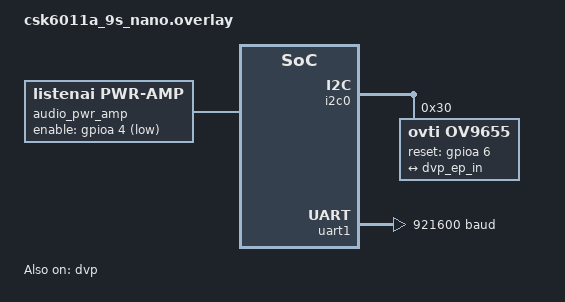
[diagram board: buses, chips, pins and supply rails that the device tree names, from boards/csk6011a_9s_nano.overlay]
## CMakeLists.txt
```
# SPDX-License-Identifier: Apache-2.0

cmake_minimum_required(VERSION 3.20.0)

set(CONF_FILE
  prj.conf
)

if(EXISTS "${CMAKE_CURRENT_SOURCE_DIR}/boards/${BOARD}.conf")
  list(APPEND CONF_FILE
    ${CMAKE_CURRENT_SOURCE_DIR}/boards/${BOARD}.conf
  )
endif()
if(EXISTS "${CMAKE_CURRENT_SOURCE_DIR}/resource/res.conf")
  list(APPEND CONF_FILE
    ${CMAKE_CURRENT_SOURCE_DIR}/resource/res.conf
  )
endif()

set(DTC_OVERLAY_FILE)

if(EXISTS "${CMAKE_CURRENT_SOURCE_DIR}/boards/${BOARD}.overlay")
  list(APPEND DTC_OVERLAY_FILE
    ${CMAKE_CURRENT_SOURCE_DIR}/boards/${BOARD}.overlay
  )
endif()
if(EXISTS "${CMAKE_CURRENT_SOURCE_DIR}/resource/res.overlay")
  list(APPEND DTC_OVERLAY_FILE
    ${CMAKE_CURRENT_SOURCE_DIR}/resource/res.overlay
  )
endif()

find_package(Zephyr REQUIRED HINTS $ENV{ZEPHYR_BASE})
project(sample_head_shoulder_detect)
target_sources(app PRIVATE
  src/main.c
)

set(gen_dir ${ZEPHYR_BINARY_DIR}/include/generated)
generate_inc_file_for_target(
  app
  resource/zephyr.bin
  ${gen_dir}/dsp_firmware.inc
)

generate_inc_file_for_target(
  app
  resource/sof-imx8mp-compr-mp3-wm8960.tplg
  ${gen_dir}/dsp_tplg.inc
)

generate_inc_file_for_target(
  app
  resource/head_shoulder_detect.bin
  ${gen_dir}/head_shoulder_res.inc
)
```

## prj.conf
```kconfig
CONFIG_PRINTK=y
CONFIG_DEBUG=y
CONFIG_LOG=y
CONFIG_LOG_MODE_IMMEDIATE=y
CONFIG_LOG_DETECT_MISSED_STRDUP=n
CONFIG_LOG_BACKEND_SHOW_COLOR=y
CONFIG_LOG_BACKEND_FORMAT_TIMESTAMP=y
CONFIG_LOG_BACKEND_UART=y
CONFIG_LOG_BACKEND_UART_OUTPUT_TEXT=y
CONFIG_MAIN_STACK_SIZE=2048

#system heap size,users can define it according to the actual usage
CONFIG_HEAP_MEM_POOL_SIZE=92160
CONFIG_CSK_HEAP=y
CONFIG_CSK_HEAP_MEM_POOL_SIZE=256000

#avf
CONFIG_AVF=y
# CONFIG_AVF_DSP_XIP=y
CONFIG_AVF_DSP_RUN_ADDRESS=0x60000000
CONFIG_AVF_DEBUG_LEVEL=5
CONFIG_AVF_MODULES_ALG_HSD_DBG=y
CONFIG_AVF_USE_BINARY_ARRAY=y
CONFIG_AVF_MODULES_ALG_HSD=y

# dvp
CONFIG_GPIO=y
CONFIG_I2C=y
CONFIG_VIDEO=y
CONFIG_VIDEO_CSK6_DVP=y
CONFIG_VIDEO_OV9655=y

CONFIG_VIDEO_BUFFER_POOL_SZ_MAX=360000
CONFIG_VIDEO_CUSTOM_SECTION=y
CONFIG_VIDEO_CUSTOM_SECTION_NAME=".psram_section"

#licak
CONFIG_LICAK=y

#IPM and GPIO for avf driver
CONFIG_IPM=y
CONFIG_GPIO=y

#cache
CONFIG_CACHE_MANAGEMENT=y
```

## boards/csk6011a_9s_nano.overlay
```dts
/*
 * SPDX-License-Identifier: Apache-2.0
 */
/delete-node/ &psram_cp;
/delete-node/ &psram_ap;
/delete-node/ &psram_share;
/ {
	chosen {
		/*
		 * shared memory reserved for the inter-processor communication
		 */
		zephyr,ipc_shm = &psram_share;
		zephyr,ipc = &mailbox0;
	};

	aliases {
		avf-audio-pwr-amp = &pwr_amp;
	};
	pwr_amp: audio_pwr_amp{
		compatible = "listenai,pwr-amp";
		enable-gpios = <&gpioa 4 1>;
		label = "audio_pwr_amp";
		status = "okay";
	};

};

&psram0 {
	psram_cp: psram_cp@30000000 {
		compatible = "listenai,csk6-psram-partition";
		reg = <0x30000000 0x600000>;
		status = "okay";
	};
	psram_ap: psram_ap@30600000 {
		compatible = "zephyr,memory-region","listenai,csk6-psram-partition";
		reg = <0x30600000 0x100000>;
		status = "okay";
		zephyr,memory-region = "PSRAMAP";
	};
	psram_share: psram_share@30700000 {
		compatible = "listenai,csk6-psram-partition";
		reg = <0x30700000 0x80000>;
		status = "okay";
	};
};

&csk6011a_9s_nano_pinctrl {
	pinctrl_uart1_tx_default: uart1_tx_default{
		pinctrls = <&pinmuxa 4 3>;
	};

	pinctrl_i2c0_scl_default: i2c0_scl_default{
		pinctrls = <&pinmuxb 0 8>;
	};

	pinctrl_i2c0_sda_default: i2c0_sda_default{
		pinctrls = <&pinmuxb 1 8>;
	};

	pinctrl_dvp_clkout_default: dvp_clkout_default{
		pinctrls = <&pinmuxa 7 20>;
	};

	pinctrl_dvp_vsync_default: dvp_vsync_default{
		pinctrls = <&pinmuxa 14 20>;
	};

	pinctrl_dvp_hsync_default: dvp_hync_default{
		pinctrls = <&pinmuxa 13 20>;
	};

	pinctrl_dvp_pclk_default: dvp_pclk_default{
		pinctrls = <&pinmuxa 15 20>;
	};

	pinctrl_dvp_d4_default: dvp_d4_default{
		pinctrls = <&pinmuxb 4 20>;
	};

	pinctrl_dvp_d5_default: dvp_d5_default{
		pinctrls = <&pinmuxb 5 20>;
	};

	pinctrl_dvp_d6_default: dvp_d6_default{
		pinctrls = <&pinmuxb 6 20>;
	};

	pinctrl_dvp_d7_default: dvp_d7_default{
		pinctrls = <&pinmuxb 7 20>;
	};


	pinctrl_dvp_d8_default: dvp_d8_default{
		pinctrls = <&pinmuxb 8 20>;
	};


	pinctrl_dvp_d9_default: dvp_d9_default{
		pinctrls = <&pinmuxa 20 20>; // useless, should replace
	};


	pinctrl_dvp_d10_default: dvp_d10_default{
		pinctrls = <&pinmuxa 8 20>;
	};


	pinctrl_dvp_d11_default: dvp_d11_default{
		pinctrls = <&pinmuxa 9 20>;
	};
};

&spi0 {
	status = "disabled";
};

&spi1 {
	status = "disabled";
};

&i2c0 {
	status = "okay";
	pinctrl-0 = <&pinctrl_i2c0_scl_default &pinctrl_i2c0_sda_default>;
	pinctrl-names = "default";

	ov9655: ov9655@30 {
		compatible = "ovti,ov9655";
		status = "okay";
		label = "OV9655";
		reg = <0x30>;
		reset-gpios = <&gpioa 6 0>;

		port {
			ov9655_ep_out: endpoint {
				remote-endpoint = <&dvp_ep_in>;
			};
		};
	};

};

&uart1 {
	pinctrl-0 = <&pinctrl_uart1_tx_default>;
	pinctrl-names = "default";
	current-speed = <921600>;
	status = "okay";
};

&dvp {
	status = "okay";
	sensor-label = "OV9655";
	clock-prescaler = <5>;
	data-align-type = "high_align";
	pclk-polarity = "post_edge_sampling";
	hsync-polarity = "active_high";
	vsync-polarity = "active_low";

	pinctrl-0 = <
	&pinctrl_dvp_clkout_default
	&pinctrl_dvp_vsync_default
	&pinctrl_dvp_hsync_default
	&pinctrl_dvp_pclk_default
	&pinctrl_dvp_d4_default
	&pinctrl_dvp_d5_default
	&pinctrl_dvp_d6_default
	&pinctrl_dvp_d7_default
	&pinctrl_dvp_d8_default
	&pinctrl_dvp_d9_default
	&pinctrl_dvp_d10_default
	&pinctrl_dvp_d11_default
	>;
	pinctrl-names = "default";

	port {
		dvp_ep_in: endpoint {
			remote-endpoint = <&ov9655_ep_out>;
		};
	};

};
```

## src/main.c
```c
/*
 *
 * SPDX-License-Identifier: Apache-2.0
 */

#include "dsp_resource.h"
#include <zephyr.h>
#include <stdio.h>
#include <avf/framework/avf_platform.h>
#include <avf/modules/hsd/hsd.h>
#include <drivers/video.h>
#include <device.h>

#define LOG_LEVEL CONFIG_LOG_DEFAULT_LEVEL
#include <logging/log.h>
LOG_MODULE_REGISTER(main);

#define VIDEO_DEV DT_LABEL(DT_NODELABEL(dvp))
#define VBUF_NUM 2
#define IMAGE_HEIGHT 240
#define IMAGE_WIDTH 320
#define IMAGE_SIZE (IMAGE_WIDTH * IMAGE_HEIGHT * 2)

const struct device *video;
uint8_t image_buf[IMAGE_SIZE];
#include <avf/avf_topology_def.h>
void main(void)
{
	int iret;
	if (NULL == avf_stream_platform_register(dsp_firmware, sizeof(dsp_firmware), dsp_tplg,
						 sizeof(dsp_tplg))) {
		printk("avf platform register failed,exit.\n");
		return;
	}

	hsd_t *hsd = hsd_create();
	hsd_set_flag(hsd, HSD_FLAG_DEFAULT);
	iret = avf_ctl_get_binary(avf_stream_platform_get(),VG_CTL_COMP_NAME_HSD_CONFIG,AVF_CTL_MSGID_HSD_INIT_ADRRESS,image_buf,256);
	printk("get data len %d\n",iret);
	//hsd_set_params(hsd, "ssass");
	// video = device_get_binding(VIDEO_DEV);

	// if (video == NULL) {
	// 	LOG_ERR("Video device %s not found, "
	// 		"fallback to software generator.",
	// 		VIDEO_DEV);

	// 	return;
	// }

	// printk("- Device name: %s\n", VIDEO_DEV);

	// hsd_start(hsd, video);

	// while (1) {
	// 	LOG_DBG("Loop transporting...");
	// }

	// hsd_stop(hsd);

	printk("AP EXEC END\n");
}
```
